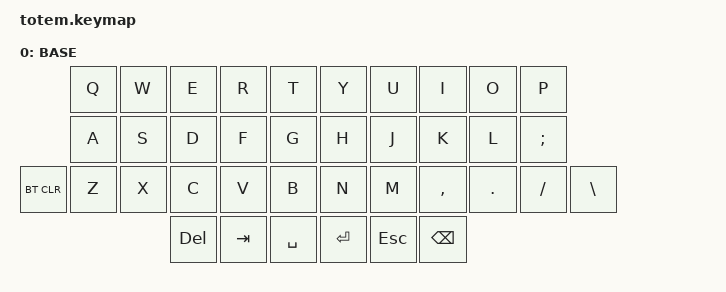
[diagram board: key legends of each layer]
//
//                                                        ▀▀▀▀▀     ▀▀▀▀▀          ▀▀█▀▀
//                                                        ▄▀▀▀▄  ▄  ▄▀▀▀▄  ▄  ▄▀▀▀▄  █  ▄▀▀▀▄
//                                                        █   █  █  █   █  █  █   █  █  █   █
//                                                         ▀▀▀   █   ▀▀▀   █   ▀▀▀   ▀   ▀▀▀
//                                                               █      ▄▄▄█▄▄▄    █   █  
//                                                               ▀      █  █  █     █▄█
//                                                             ▀▀▀▀▀    █  █  █      ▀
//                                                                      ▀  ▀  ▀
//
// ▄▄▄▄▄▄▄▄▄▄▄▄▄▄▄▄▄▄▄▄▄▄▄▄▄▄▄▄▄▄▄▄▄▄▄▄▄▄▄▄▄▄▄▄▄▄▄▄▄▄▄▄▄▄▄▄▄▄▄▄▄▄▄▄▄▄▄▄▄▄▄▄▄▄▄▄▄▄▄▄▄▄▄▄▄▄▄▄▄▄▄▄▄▄▄▄▄▄▄▄▄▄▄▄▄▄▄▄▄▄▄▄▄▄▄▄▄▄▄▄▄▄▄▄▄▄▄▄▄▄▄▄▄▄▄▄▄▄▄▄▄▄▄▄▄▄▄▄▄
       

#include <behaviors.dtsi>
#include <dt-bindings/zmk/keys.h>
#include <dt-bindings/zmk/bt.h>
#include <dt-bindings/zmk/outputs.h>

#define BASE 0


/ {
        keymap {
                compatible = "zmk,keymap";
// ▄▄▄▄▄▄▄▄▄▄▄▄▄▄▄▄▄▄▄▄▄▄▄▄▄▄▄▄▄▄▄▄▄▄▄▄▄▄▄▄▄▄▄▄▄▄▄▄▄▄▄▄▄▄▄▄▄▄▄▄▄▄▄▄▄▄▄▄▄▄▄▄▄▄▄▄▄▄▄▄▄▄▄▄▄▄▄▄▄▄▄▄▄▄▄▄▄▄▄▄▄▄▄▄▄▄▄▄▄▄▄▄▄▄▄▄▄▄▄▄▄▄▄▄▄▄▄▄▄▄▄▄▄▄▄▄▄▄▄▄▄▄▄▄▄▄▄▄▄

                base_layer {
// ┏━━━━━━━━━━━━━━━━━━━━━━━━━━━━━━━━━━━━━━━┓
label= "BASE"                              ;
// ┗━━━━━━━━━━━━━━━━━━━━━━━━━━━━━━━━━━━━━━━┛
//             ┏━━━━━━━━━━━┳━━━━━━━━━━━┳━━━━━━━━━━━┳━━━━━━━━━━━┳━━━━━━━━━━━┓   ┏━━━━━━━━━━━┳━━━━━━━━━━━┳━━━━━━━━━━━┳━━━━━━━━━━━┳━━━━━━━━━━━┓
//             ┃     Q     ┃     W     ┃     F     ┃     P     ┃     G     ┃   ┃     J     ┃     L     ┃     U     ┃     Y     ┃     ;     ┃
//             ┣━━━━━━━━━━━╋━━━━━━━━━━━╋━━━━━━━━━━━╋━━━━━━━━━━━╋━━━━━━━━━━━┫   ┣━━━━━━━━━━━╋━━━━━━━━━━━╋━━━━━━━━━━━╋━━━━━━━━━━━╋━━━━━━━━━━━┫
//             ┃     A     ┃     R     ┃     S     ┃     T     ┃     D     ┃   ┃     H     ┃     N     ┃     E     ┃     I     ┃     O     ┃
// ┏━━━━━━━━━━━╋━━━━━━━━━━━╋━━━━━━━━━━━╋━━━━━━━━━━━╋━━━━━━━━━━━╋━━━━━━━━━━━┫   ┣━━━━━━━━━━━╋━━━━━━━━━━━╋━━━━━━━━━━━╋━━━━━━━━━━━╋━━━━━━━━━━━╋━━━━━━━━━━━┓
// ┃     Q     ┃     Z     ┃     X     ┃     C     ┃     V     ┃     B     ┃   ┃     K     ┃     M     ┃     ,     ┃     .     ┃     /     ┃     \     ┃
// ┗━━━━━━━━━━━┻━━━━━━━━━━━┻━━━━━━━━━━━╋━━━━━━━━━━━╋━━━━━━━━━━━╋━━━━━━━━━━━┫   ┣━━━━━━━━━━━╋━━━━━━━━━━━╋━━━━━━━━━━━╋━━━━━━━━━━━┻━━━━━━━━━━━┻━━━━━━━━━━━┛
//                                     ┃    DEL    ┃    TAB    ┃    SPC    ┃   ┃   ENTER   ┃           ┃   BSPC    ┃
//                                     ┗━━━━━━━━━━━┻━━━━━━━━━━━┻━━━━━━━━━━━┛   ┗━━━━━━━━━━━┻━━━━━━━━━━━┻━━━━━━━━━━━┛
 bindings = <
// ╷           ╷           ╷           ╷           ╷           ╷           ╷   ╷           ╷           ╷           ╷           ╷           ╷           ╷

                &kp Q       &kp W       &kp E       &kp R       &kp T           &kp Y       &kp U       &kp I       &kp O       &kp P
                &kp A       &kp S       &kp D       &kp F       &kp G           &kp H       &kp J       &kp K       &kp L       &kp SEMI
    &bt BT_CLR &kp Z        &kp X       &kp C       &kp V       &kp B           &kp N       &kp M       &kp COMMA   &kp DOT     &kp FSLH    &kp BSLH
                                        &kp DEL   &kp TAB   &kp SPACE       &kp RET   &kp ESC   &kp BSPC
                        >;
                };
        };
};
